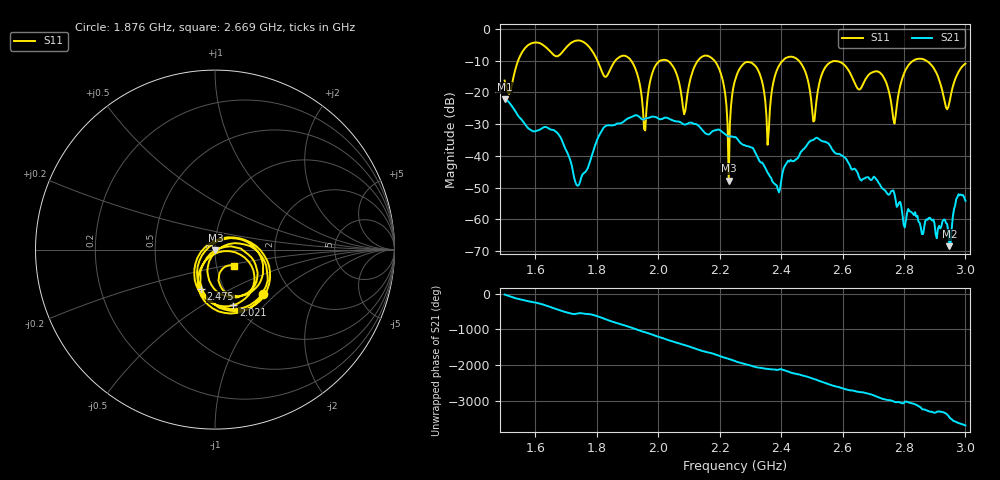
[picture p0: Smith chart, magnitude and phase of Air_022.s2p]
# HZ S RI R 50
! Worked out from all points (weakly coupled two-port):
!   404 points, 1.5 GHz to 3 GHz, reference 50 ohm
!   highest |S21| = -22.18 dB at 1.5 GHz (marker M1); lowest = -68.4 dB at 2.948 GHz (marker M2)
!   lowest |S11| = -47.8 dB at 2.23 GHz (marker M3), VSWR 1.01, Z = 50.2 - j0.354 ohm
!   |S11| at or under -10 dB: 2.183 GHz to 2.405 GHz (222.3 MHz wide, 9.69 % of centre); 2.458 GHz to 2.83 GHz (372.6 MHz wide, 14.1 % of centre); 2.872 GHz to end of sweep (the widest 3 of 7)
!   S12 and S22 are empty: the file has one direction only
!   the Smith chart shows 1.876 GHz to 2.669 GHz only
!   S11 on the Smith chart (normalised r, x): 1.876 GHz: 1.45, -0.83; 2.021 GHz: 0.99, -0.69; 2.475 GHz: 0.78, -0.36; 2.669 GHz: 1.21, -0.23
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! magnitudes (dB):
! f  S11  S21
! 1.5 GHz  -16.3  -22.2
! 1.753 GHz  -3.9  -45.9
! 1.876 GHz  -8.7  -29.8
! 1.954 GHz  -31.5  -28.4
! 2.002 GHz  -10.3  -28.3
! 2.021 GHz  -9.7  -28.0
! 2.084 GHz  -26.9  -30.1
! 2.181 GHz  -9.8  -32.1
! 2.23 GHz  -47.8  -33.9
! 2.252 GHz  -15.7  -34.1
! 2.315 GHz  -11.6  -38.8
! 2.356 GHz  -36.5  -45.3
! 2.401 GHz  -10.5  -47.7
! 2.475 GHz  -12.6  -37.7
! 2.501 GHz  -25.4  -35.1
! 2.565 GHz  -10.3  -37.7
! 2.669 GHz  -17.0  -47.2
! 2.751 GHz  -19.6  -52.2
! 2.769 GHz  -29.8  -52.0
! 2.859 GHz  -9.4  -64.6
! 2.948 GHz  -23.2  -68.4
! 3 GHz  -10.9  -54.1
